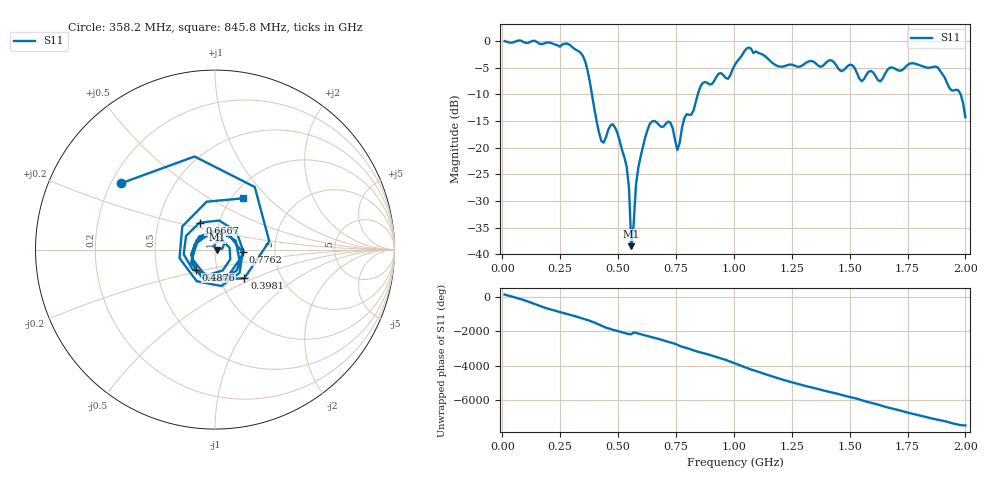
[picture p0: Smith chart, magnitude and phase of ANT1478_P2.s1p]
!Created with skrf (http://scikit-rf.org).
# Hz S RI R 50.0
!freq ReS11 ImS11
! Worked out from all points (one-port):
!   201 points, 10 MHz to 2 GHz, reference 50 ohm
!   lowest |S11| = -38.5 dB at 557.2 MHz (marker M1), VSWR 1.02, Z = 51.2 - j0.0801 ohm
!   |S11| at or under -10 dB: 387 MHz to 844.2 MHz (457.2 MHz wide, 74.3 % of centre); 1.98 GHz to end of sweep
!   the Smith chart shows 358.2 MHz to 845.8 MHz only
!   S11 on the Smith chart (normalised r, x): 358.2 MHz: 0.24, +0.30; 398.1 MHz: 1.31, -0.44; 487.6 MHz: 0.79, -0.18; 666.7 MHz: 0.81, +0.25; 776.1 MHz: 1.36, -0.04; 845.8 MHz: 1.13, +0.72
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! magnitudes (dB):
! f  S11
! 10 MHz  0.0
! 258.8 MHz  -0.6
! 358.2 MHz  -3.8
! 398.1 MHz  -12.8
! 427.9 MHz  -18.8
! 487.6 MHz  -16.3
! 507.5 MHz  -18.8
! 537.4 MHz  -23.6
! 547.3 MHz  -27.6
! 557.2 MHz  -38.5
! 587.1 MHz  -23.8
! 636.9 MHz  -15.6
! 666.7 MHz  -15.2
! 726.4 MHz  -15.3
! 756.2 MHz  -20.4
! 776.1 MHz  -16.2
! 845.8 MHz  -9.7
! 1.005 GHz  -4.4
! 1.065 GHz  -1.2
! 1.254 GHz  -4.5
! 1.502 GHz  -4.4
! 1.552 GHz  -7.5
! 1.592 GHz  -5.6
! 1.632 GHz  -7.6
! 1.751 GHz  -4.4
! 1.881 GHz  -4.9
! 1.98 GHz  -10.0
! 2 GHz  -14.3
